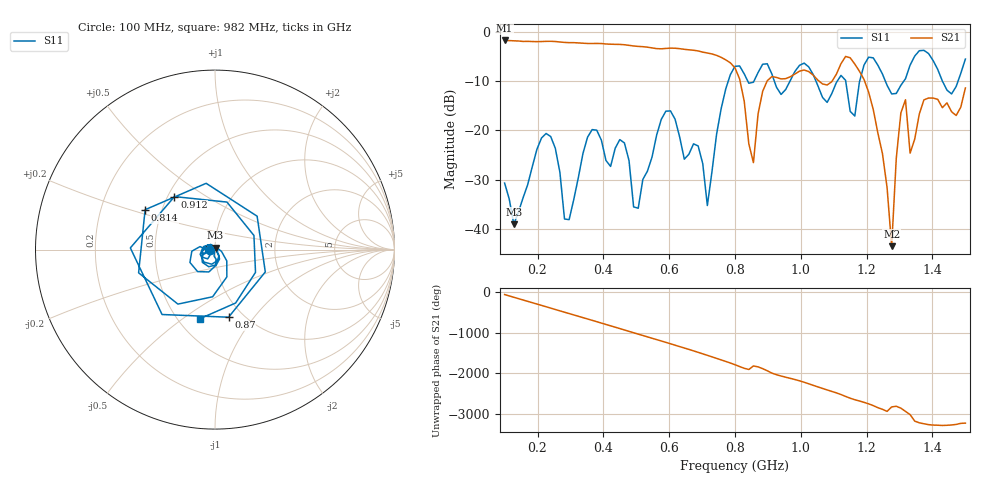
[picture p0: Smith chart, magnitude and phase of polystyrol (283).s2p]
! NanoVNA-App
! Date: 2025-09-25 15:32:05
! Start: 100MHz Stop: 1,5GHz Points: 101
! S-Parameter data: F S11 S21 S12 S22
# Hz S RI R 50
!  Frequency  S11_Real  S11_Imag  S21_Real  S21_Imag  S12_Real  S12_Imag  S22_Real  S22_Imag
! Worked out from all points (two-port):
!   101 points, 100 MHz to 1.5 GHz, reference 50 ohm
!   highest |S21| = -1.80 dB at 100 MHz (marker M1); lowest = -43.5 dB at 1.276 GHz (marker M2)
!   |S21| within 3 dB of the highest: start of sweep to 743 MHz
!   lowest |S11| = -39.1 dB at 128 MHz (marker M3), VSWR 1.02, Z = 50.3 + j1.06 ohm
!   |S11| at or under -10 dB: start of sweep to 779.7 MHz; 1.046 GHz to 1.111 GHz (65.45 MHz wide, 6.07 % of centre); 1.257 GHz to 1.313 GHz (56.75 MHz wide, 4.42 % of centre) (the widest 3 of 7)
!   S12 and S22 are empty: the file has one direction only
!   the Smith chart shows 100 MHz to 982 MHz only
!   S11 on the Smith chart (normalised r, x): 100 MHz: 0.94, -0.01; 814 MHz: 0.40, +0.22; 870 MHz: 0.86, -0.76; 912 MHz: 0.54, +0.37; 982 MHz: 0.64, -0.58
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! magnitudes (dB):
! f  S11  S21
! 100 MHz  -30.7  -1.8
! 128 MHz  -39.1  -1.9
! 212 MHz  -21.6  -2.0
! 282 MHz  -38.0  -2.2
! 338 MHz  -24.7  -2.4
! 464 MHz  -22.6  -2.7
! 506 MHz  -35.8  -3.0
! 576 MHz  -17.8  -3.5
! 716 MHz  -35.3  -4.3
! 800 MHz  -7.0  -7.4
! 814 MHz  -7.0  -9.6
! 856 MHz  -10.3  -26.6
! 870 MHz  -8.3  -16.7
! 912 MHz  -8.6  -9.1
! 982 MHz  -8.1  -8.6
! 1.038 GHz  -8.8  -8.9
! 1.164 GHz  -17.1  -6.6
! 1.192 GHz  -6.8  -9.7
! 1.276 GHz  -12.6  -43.5
! 1.318 GHz  -9.6  -13.8
! 1.332 GHz  -6.8  -24.6
! 1.5 GHz  -5.6  -11.4
